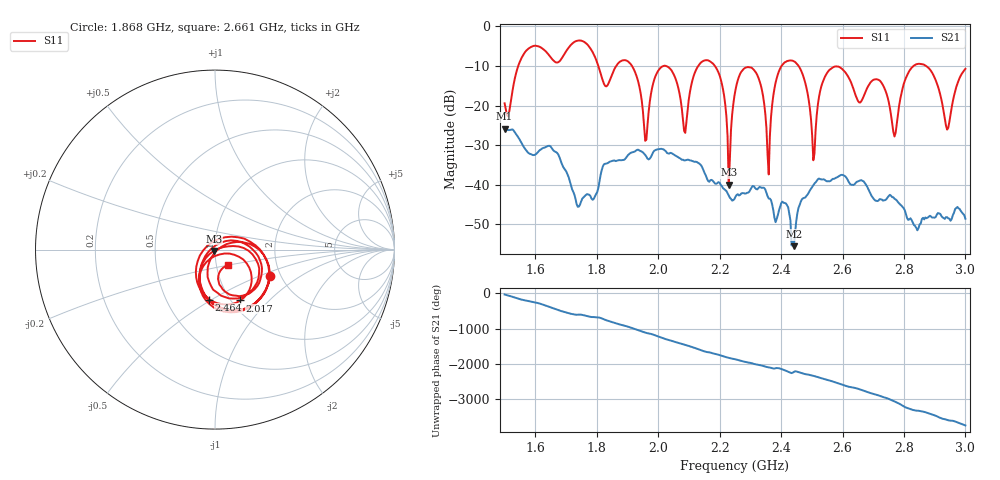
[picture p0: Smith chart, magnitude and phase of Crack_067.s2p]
# HZ S RI R 50
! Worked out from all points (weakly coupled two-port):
!   404 points, 1.5 GHz to 3 GHz, reference 50 ohm
!   highest |S21| = -25.87 dB at 1.5 GHz (marker M1); lowest = -55.5 dB at 2.442 GHz (marker M2)
!   lowest |S11| = -40.0 dB at 2.23 GHz (marker M3), VSWR 1.02, Z = 49.3 - j0.701 ohm
!   |S11| at or under -10 dB: 2.185 GHz to 2.401 GHz (216.8 MHz wide, 9.45 % of centre); 2.457 GHz to 2.831 GHz (374 MHz wide, 14.1 % of centre); 2.872 GHz to end of sweep (the widest 3 of 7)
!   S12 and S22 are empty: the file has one direction only
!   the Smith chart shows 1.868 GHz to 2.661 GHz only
!   S11 on the Smith chart (normalised r, x): 1.868 GHz: 1.76, -0.58; 2.017 GHz: 1.10, -0.69; 2.464 GHz: 0.80, -0.49; 2.661 GHz: 1.14, -0.20
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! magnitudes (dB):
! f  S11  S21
! 1.5 GHz  -19.4  -25.9
! 1.753 GHz  -3.7  -43.5
! 1.868 GHz  -9.4  -33.9
! 1.958 GHz  -28.9  -32.5
! 2.002 GHz  -10.9  -31.0
! 2.017 GHz  -10.0  -31.1
! 2.088 GHz  -26.9  -33.9
! 2.181 GHz  -9.7  -39.4
! 2.23 GHz  -40.0  -42.8
! 2.252 GHz  -15.9  -43.0
! 2.315 GHz  -11.3  -40.8
! 2.36 GHz  -37.4  -43.5
! 2.39 GHz  -12.1  -47.7
! 2.442 GHz  -8.8  -55.5
! 2.464 GHz  -11.0  -44.3
! 2.501 GHz  -27.6  -40.6
! 2.565 GHz  -10.6  -38.8
! 2.661 GHz  -18.9  -38.8
! 2.751 GHz  -19.1  -42.8
! 2.862 GHz  -9.6  -48.4
! 2.94 GHz  -26.1  -48.2
! 3 GHz  -10.7  -48.6
